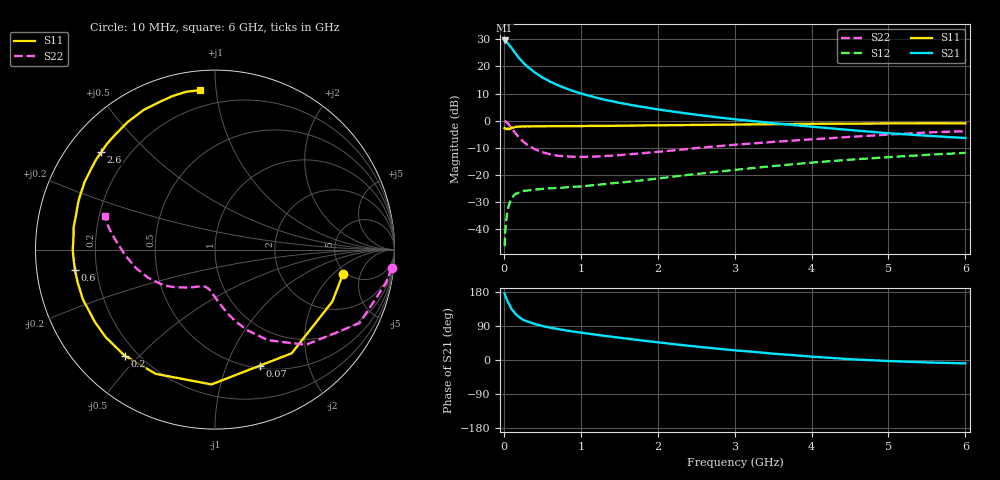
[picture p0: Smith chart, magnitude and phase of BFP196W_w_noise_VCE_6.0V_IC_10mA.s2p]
! (c) 2017  Infineon Technologies AG, Munich
! Infineon Technologies  Discrete & RF Semiconductors
! BFP196W
! VCE =  6.0 V,  IC =  10 mA
! Common Emitter S-Parameters:  Jan 2017
# GHz  S  MA  R  50
!  f  S11  S21  S12  S22
! GHz  MAG  ANG  MAG  ANG  MAG  ANG  MAG  ANG
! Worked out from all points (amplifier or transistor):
!   77 points, 10 MHz to 6 GHz, reference 50 ohm
!   highest |S21| = 29.6 dB at 10 MHz (marker M1)
!   |S21| within 3 dB of that: start of sweep to 106.4 MHz
!   unconditionally stable (mu >= 1): 1.275 GHz to 3.151 GHz
!   at 130 MHz: K = 0.15, MSG = 26.7 dB, |S12| = -27.7 dB
!   at 2.2 GHz: K = 1.10, MAG = 10.1 dB, |S12| = -20.7 dB
!   at 6 GHz: K = 0.87, MSG = 2.7 dB, |S12| = -11.9 dB
!   lowest NFmin = 0.91 dB at 450 MHz
!   S11 on the Smith chart (normalised r, x): 10 MHz: 4.69, -2.70; 70 MHz: 0.53, -1.32; 200 MHz: 0.15, -0.45; 600 MHz: 0.12, -0.07; 2.6 GHz: 0.10, +0.37; 6 GHz: 0.10, +0.91
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0.01  0.726 -10.8  30.23 175.4  0.0048 83.8  0.9902 -5.8
0.02  0.7151 -23.9  29.56 169.0  0.0097 81.8  0.9709 -11.1
0.05  0.7185 -53.5  27.29 153.8  0.0228 65.2  0.9031 -27.0
0.07  0.6931 -69.0  24.85 147.0  0.0283 57.2  0.8245 -33.8
0.1  0.7514 -91.5  22.03 134.3  0.0371 49.8  0.7336 -46.3
0.15  0.767 -115.5  17.5 121.7  0.0442 39.6  0.5856 -59.6
0.2  0.776 -130.5  14.18 112.9  0.0471 33.6  0.4858 -68.0
0.25  0.7803 -141.2  11.82 106.5  0.0504 30.1  0.413 -74.3
0.3  0.7814 -148.9  10.08 102.0  0.051 27.7  0.3616 -78.9
0.4  0.7866 -159.4  7.776 94.9  0.0531 25.6  0.2966 -85.7
0.5  0.7866 -166.4  6.278 89.8  0.0548 25.2  0.2608 -90.6
0.6  0.7888 -171.7  5.269 85.5  0.0563 26.0  0.2394 -94.7
0.7  0.7896 -176.0  4.521 81.9  0.0568 27.5  0.2249 -97.7
0.8  0.7926 -179.9  3.97 78.3  0.0583 29.1  0.2191 -100.4
1.1  0.7974 171.2  2.902 69.5  0.0629 33.6  0.2156 -107.6
1.5  0.8051 161.6  2.135 58.9  0.0716 39.5  0.2303 -116.3
2.1  0.8211 148.7  1.54 44.5  0.0886 46.0  0.2729 -129.4
2.6  0.8347 139.5  1.234 33.4  0.1068 48.7  0.3204 -139.8
3.1  0.8478 130.9  1.026 24.0  0.1272 48.6  0.3666 -149.8
4.1  0.8738 115.8  0.752 7.6  0.1718 44.7  0.4604 -168.8
5.1  0.8888 104.1  0.572 -3.5  0.2156 37.8  0.5625 173.7
6  0.8918 95.3  0.477 -9.0  0.254 30.3  0.6396 162.9
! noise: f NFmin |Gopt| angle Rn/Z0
0.45  0.91  0.36  146  0.06
0.9  1.19  0.53  168  0.05
1.9  2.27  0.71  -158  0.1
2.4  2.77  0.76  -149  0.22
